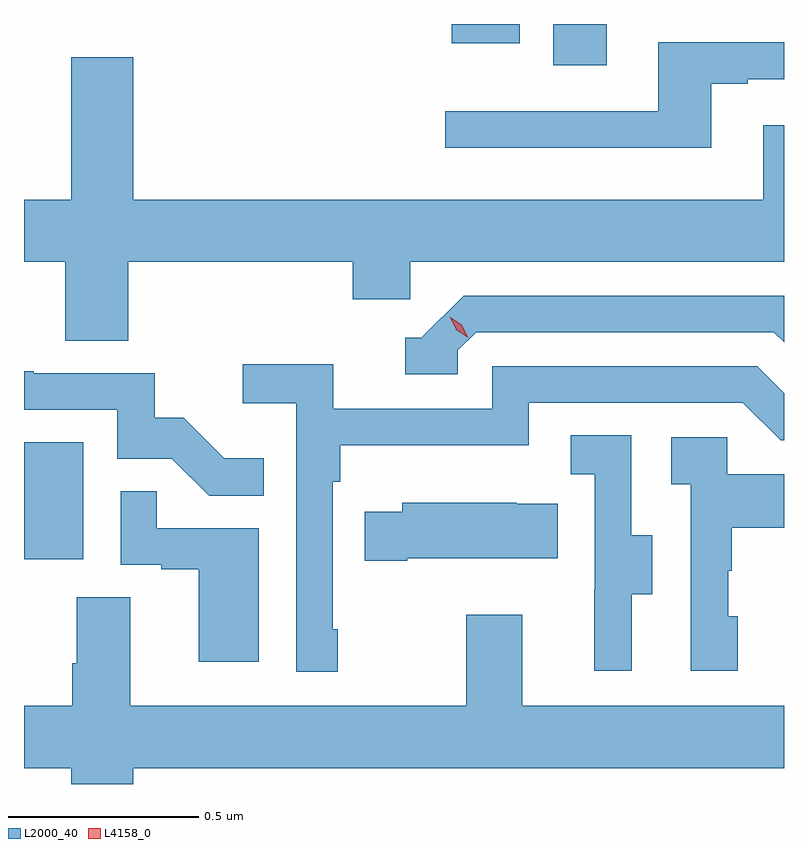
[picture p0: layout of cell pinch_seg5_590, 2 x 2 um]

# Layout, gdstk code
import gdstk
lib = gdstk.Library(unit=1e-6, precision=1e-09)
def R(c, l, rs):  # rectangles x0, y0, x1, y1
    for r in rs: c.add(gdstk.rectangle(r[:2], r[2:], *l))
def P(c, l, *ps):  # polygons
    for p in ps: c.add(gdstk.Polygon(p, *l))
L2000_40 = (2000, 40)
L4158_0 = (4158, 0)

pinch_seg5_590 = lib.new_cell('pinch_seg5_590')
R(pinch_seg5_590, L2000_40, [(1141.906,854.646,1142.062,854.953), (1143.299,855.945,1143.439,856.054), (1143.032,856.004,1143.211,856.054)])
P(pinch_seg5_590, L2000_40, [(1143.715,855.897),(1143.811,855.897),(1143.811,855.909),(1143.906,855.909),(1143.906,856.006),(1143.575,856.006),(1143.575,855.825),(1143.015,855.825),(1143.015,855.728),(1143.715,855.728)],
  [(1142.18,855.428),(1142.771,855.428),(1142.771,855.33),(1142.922,855.33),(1142.922,855.428),(1143.906,855.428),(1143.906,855.787),(1143.851,855.787),(1143.851,855.592),(1142.194,855.592),(1142.194,855.967),(1142.03,855.967),(1142.03,855.592),(1141.906,855.592),(1141.906,855.428),(1142.015,855.428),(1142.015,855.22),(1142.18,855.22)],
  [(1143.048,855.195),(1143.096,855.243),(1143.879,855.243),(1143.906,855.216),(1143.906,855.339),(1143.063,855.339),(1142.952,855.228),(1142.909,855.228),(1142.909,855.132),(1143.048,855.132)],
  [(1142.731,854.461),(1142.718,854.461),(1142.718,854.849),(1142.738,854.849),(1142.738,854.945),(1143.234,854.945),(1143.234,855.057),(1143.798,855.057),(1143.897,854.958),(1143.906,854.958),(1143.906,855.082),(1143.835,855.153),(1143.138,855.153),(1143.138,855.042),(1142.72,855.042),(1142.72,855.158),(1142.481,855.158),(1142.481,855.056),(1142.622,855.056),(1142.622,854.349),(1142.731,854.349)],
  [(1142.537,854.911),(1142.433,854.911),(1142.326,855.018),(1142.25,855.018),(1142.25,855.135),(1141.931,855.135),(1141.931,855.14),(1141.906,855.14),(1141.906,855.039),(1142.151,855.039),(1142.151,854.91),(1142.295,854.91),(1142.393,854.812),(1142.537,854.812)],
  [(1143.505,854.554),(1143.559,854.554),(1143.559,854.709),(1143.504,854.709),(1143.504,854.972),(1143.345,854.972),(1143.345,854.869),(1143.408,854.869),(1143.408,854.565),(1143.407,854.565),(1143.407,854.352),(1143.505,854.352)],
  [(1143.784,854.496),(1143.759,854.496),(1143.759,854.615),(1143.769,854.615),(1143.769,854.729),(1143.906,854.729),(1143.906,854.869),(1143.756,854.869),(1143.756,854.967),(1143.609,854.967),(1143.609,854.843),(1143.66,854.843),(1143.66,854.352),(1143.784,854.352)],
  [(1142.524,854.727),(1142.255,854.727),(1142.255,854.825),(1142.16,854.825),(1142.16,854.631),(1142.267,854.631),(1142.267,854.619),(1142.366,854.619),(1142.366,854.376),(1142.524,854.376)],
  [(1142.914,854.648),(1143.311,854.648),(1143.311,854.791),(1143.203,854.791),(1143.203,854.794),(1142.901,854.794),(1142.901,854.77),(1142.803,854.77),(1142.803,854.641),(1142.914,854.641)],
  [(1142.194,854.096),(1143.906,854.096),(1143.906,854.26),(1143.217,854.26),(1143.217,854.5),(1143.07,854.5),(1143.07,854.26),(1142.185,854.26),(1142.185,854.546),(1142.045,854.546),(1142.045,854.372),(1142.033,854.372),(1142.033,854.26),(1141.906,854.26),(1141.906,854.096),(1142.03,854.096),(1142.03,854.054),(1142.194,854.054)])
P(pinch_seg5_590, L4158_0, [(1143.073,855.23),(1143.043,855.25),(1143.027,855.283),(1143.027,855.283),(1143.027,855.283),(1143.058,855.263),(1143.074,855.23),(1143.074,855.23)])

lib.write_gds('pinch_seg5_590.gds')
